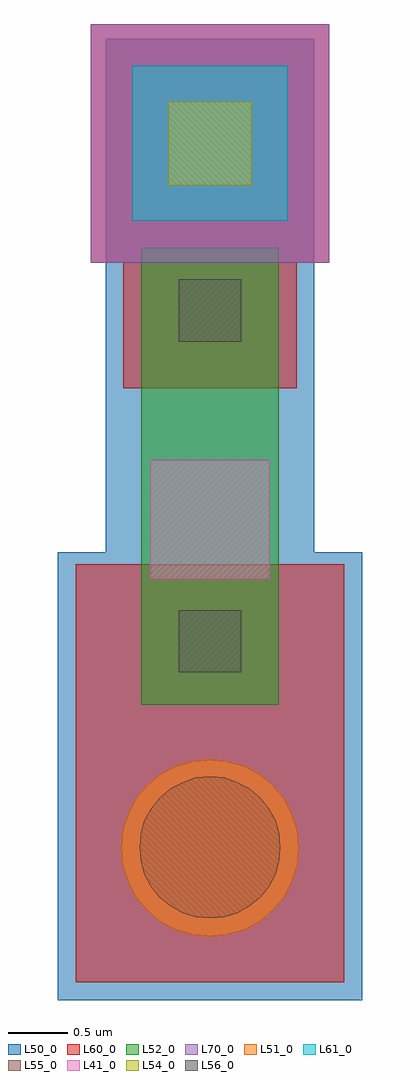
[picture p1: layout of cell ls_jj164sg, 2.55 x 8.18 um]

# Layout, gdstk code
import gdstk
lib = gdstk.Library(unit=1e-6, precision=1e-09)
def R(c, l, rs):  # rectangles x0, y0, x1, y1
    for r in rs: c.add(gdstk.rectangle(r[:2], r[2:], *l))
def P(c, l, *ps):  # polygons
    for p in ps: c.add(gdstk.Polygon(p, *l))
L41_0 = (41, 0)
L50_0 = (50, 0)
L51_0 = (51, 0)
L52_0 = (52, 0)
L54_0 = (54, 0)
L55_0 = (55, 0)
L56_0 = (56, 0)
L60_0 = (60, 0)
L61_0 = (61, 0)
L70_0 = (70, 0)

ls_conn_m5m6m7 = lib.new_cell('ls_conn_M5M6M7')
R(ls_conn_m5m6m7, L50_0, [(-0.5,-0.5,1.2,1.2)])
R(ls_conn_m5m6m7, L54_0, [(0,0,0.7,0.7)])
R(ls_conn_m5m6m7, L60_0, [(-0.65,-0.65,1.35,1.35)])
R(ls_conn_m5m6m7, L61_0, [(-0.3,-0.3,1,1)])
R(ls_conn_m5m6m7, L70_0, [(-0.65,-0.65,1.35,1.35)])

ls_jj164sg = lib.new_cell('ls_jj164sg')
R(ls_jj164sg, L41_0, [(-0.5,2.25,0.5,3.25)])
R(ls_jj164sg, L50_0, [(-1.275,-1.275,1.275,2.475), (-0.875,2.475,0.875,6.775)])
P(ls_jj164sg, L51_0, [(0,-0.745),(-0.145,-0.73),(-0.285,-0.69),(-0.415,-0.62),(-0.525,-0.525),(-0.62,-0.415),(-0.685,-0.285),(-0.73,-0.145),(-0.745,0),(-0.73,0.145),(-0.685,0.28),(-0.62,0.41),(-0.525,0.525),(-0.415,0.615),(-0.285,0.685),(-0.145,0.725),(0,0.74),(0.145,0.725),(0.285,0.685),(0.415,0.615),(0.525,0.525),(0.62,0.41),(0.685,0.28),(0.73,0.145),(0.745,0),(0.73,-0.145),(0.685,-0.285),(0.62,-0.415),(0.525,-0.525),(0.415,-0.62),(0.285,-0.69),(0.145,-0.73)])
R(ls_jj164sg, L52_0, [(-0.575,1.2,0.575,5.025)])
R(ls_jj164sg, L54_0, [(-0.35,5.55,0.35,6.25)])
P(ls_jj164sg, L55_0, [(0,-0.59),(-0.12,-0.58),(-0.23,-0.55),(-0.33,-0.49),(-0.42,-0.42),(-0.49,-0.33),(-0.55,-0.22),(-0.58,-0.11),(-0.59,0),(-0.58,0.12),(-0.55,0.23),(-0.49,0.33),(-0.42,0.42),(-0.33,0.5),(-0.23,0.55),(-0.12,0.59),(0,0.6),(0.12,0.59),(0.23,0.55),(0.33,0.5),(0.42,0.42),(0.49,0.33),(0.55,0.23),(0.58,0.12),(0.59,0),(0.58,-0.11),(0.55,-0.22),(0.49,-0.33),(0.42,-0.42),(0.33,-0.49),(0.23,-0.55),(0.12,-0.58)])
R(ls_jj164sg, L56_0, [(-0.26,1.47,0.26,1.99), (-0.26,4.24,0.26,4.76)])
R(ls_jj164sg, L60_0, [(-1.125,-1.125,1.125,2.375), (-0.725,3.85,0.725,6.625)])
ls_jj164sg.add(gdstk.Reference(ls_conn_m5m6m7, (-0.35,5.55)))

lib.write_gds('ls_jj164sg.gds')
